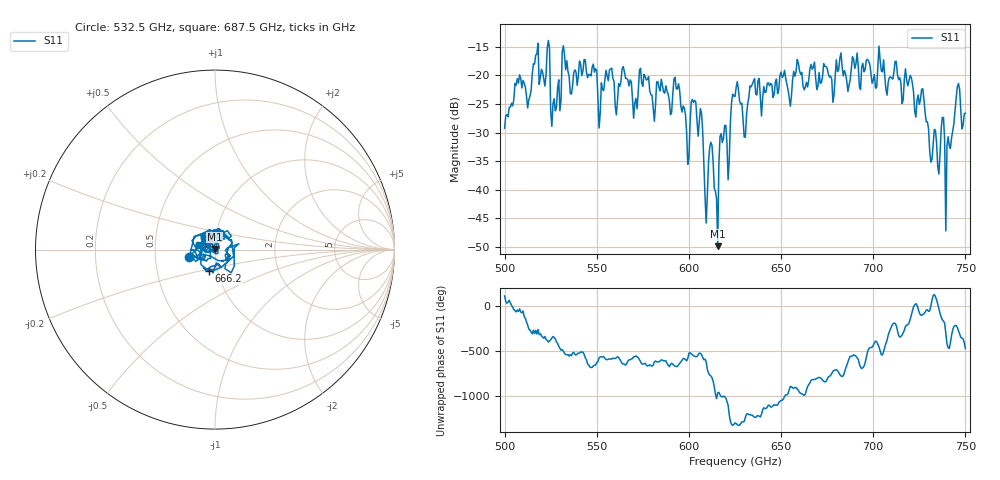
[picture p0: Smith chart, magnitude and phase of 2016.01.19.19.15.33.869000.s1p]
!Created with skrf (http://scikit-rf.org).
# GHz S RI R 50.0
!freq ReS11 ImS11
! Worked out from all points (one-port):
!   401 points, 500 GHz to 750 GHz, reference 50 ohm
!   lowest |S11| = -49.9 dB at 615.6 GHz (marker M1), VSWR 1.01, Z = 49.9 + j0.286 ohm
!   |S11| at or under -10 dB: start of sweep to end of sweep
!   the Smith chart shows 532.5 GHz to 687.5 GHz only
!   S11 on the Smith chart (normalised r, x): 532.5 GHz: 0.74, -0.06; 666.2 GHz: 0.91, -0.22; 687.5 GHz: 0.84, +0.04
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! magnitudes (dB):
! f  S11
! 500 GHz  -29.2
! 506.9 GHz  -20.6
! 513.1 GHz  -24.3
! 516.9 GHz  -16.4
! 523.1 GHz  -15.2
! 526.2 GHz  -25.0
! 531.2 GHz  -15.9
! 532.5 GHz  -16.4
! 551.9 GHz  -26.6
! 562.5 GHz  -21.9
! 593.8 GHz  -22.4
! 599.4 GHz  -35.6
! 602.5 GHz  -24.7
! 606.2 GHz  -25.8
! 609.4 GHz  -45.9
! 611.9 GHz  -31.7
! 615.6 GHz  -49.9
! 618.1 GHz  -31.8
! 625 GHz  -23.7
! 630.6 GHz  -30.8
! 634.4 GHz  -21.6
! 656.2 GHz  -20.7
! 666.2 GHz  -18.1
! 687.5 GHz  -20.7
! 718.8 GHz  -21.8
! 740.6 GHz  -30.8
! 745.6 GHz  -22.0
! 750 GHz  -26.6
